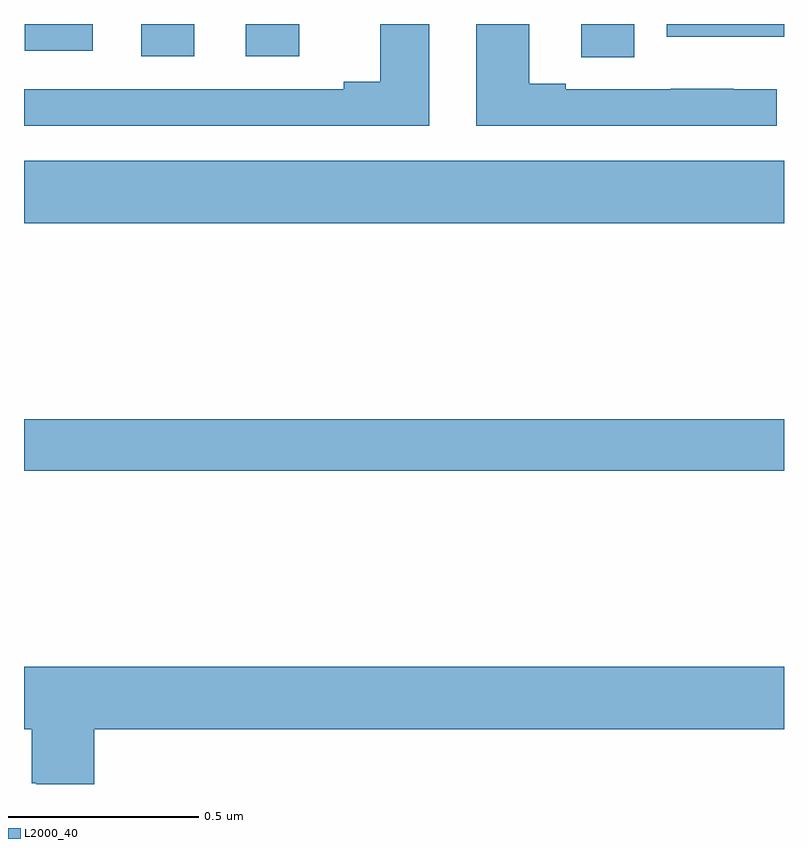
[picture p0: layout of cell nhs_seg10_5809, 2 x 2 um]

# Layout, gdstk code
import gdstk
lib = gdstk.Library(unit=1e-6, precision=1e-09)
def R(c, l, rs):  # rectangles x0, y0, x1, y1
    for r in rs: c.add(gdstk.rectangle(r[:2], r[2:], *l))
def P(c, l, *ps):  # polygons
    for p in ps: c.add(gdstk.Polygon(p, *l))
L2000_40 = (2000, 40)

nhs_seg10_5809 = lib.new_cell('nhs_seg10_5809')
R(nhs_seg10_5809, L2000_40, [(183,1306.324,185,1306.46), (183,1306.976,185,1307.14), (184.467,1307.413,184.606,1307.5), (183.308,1307.415,183.448,1307.5), (183.584,1307.415,183.724,1307.5), (183.002,1307.43,183.181,1307.5), (184.691,1307.466,185,1307.5)])
P(nhs_seg10_5809, L2000_40, [(184.981,1307.328),(184.868,1307.328),(184.868,1307.329),(184.702,1307.329),(184.702,1307.328),(184.426,1307.328),(184.426,1307.343),(184.33,1307.343),(184.33,1307.5),(184.19,1307.5),(184.19,1307.232),(184.981,1307.232)],
  [(184.066,1307.5),(183.938,1307.5),(183.938,1307.348),(183.842,1307.348),(183.842,1307.328),(183,1307.328),(183,1307.232),(184.066,1307.232)],
  [(183.185,1305.644),(185,1305.644),(185,1305.808),(183,1305.808),(183,1305.644),(183.02,1305.644),(183.02,1305.502),(183.032,1305.502),(183.032,1305.5),(183.185,1305.5)])

lib.write_gds('nhs_seg10_5809.gds')
